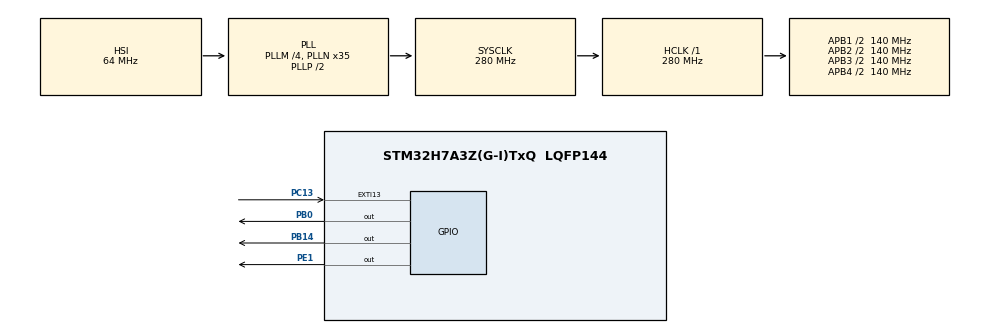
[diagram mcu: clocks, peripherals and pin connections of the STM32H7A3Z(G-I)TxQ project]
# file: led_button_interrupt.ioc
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CORTEX_M7.default_mode_Activation=1
Mcu.Family=STM32H7
Mcu.Name=STM32H7A3Z(G-I)TxQ
Mcu.Package=LQFP144
NVIC.EXTI15_10_IRQn=true\:0\:0\:true\:false\:true\:true\:true\:true
NVIC.PriorityGroup=NVIC_PRIORITYGROUP_4
NVIC.TIM6_DAC_IRQn=true\:1\:0\:true\:false\:true\:true\:true\:true
NVIC.TIM7_IRQn=true\:1\:0\:true\:false\:true\:true\:true\:true
PB0.PinState=GPIO_PIN_RESET
PB0.Signal=GPIO_Output
PB14.PinState=GPIO_PIN_RESET
PB14.Signal=GPIO_Output
PC13.GPIO_ModeDefaultEXTI=GPIO_MODE_IT_RISING_FALLING
PC13.Signal=GPXTI13
PC14-OSC32_IN.GPIO_Label=OSC32_IN
PC14-OSC32_IN.Signal=RCC_OSC32_IN
PC15-OSC32_OUT.GPIO_Label=OSC32_OUT
PC15-OSC32_OUT.Signal=RCC_OSC32_OUT
PE1.PinState=GPIO_PIN_RESET
PE1.Signal=GPIO_Output
PH0-OSC_IN.GPIO_Label=PH0-MCU
PH0-OSC_IN.Signal=RCC_OSC_IN
PH1-OSC_OUT.GPIO_Label=PH1-MCU
PH1-OSC_OUT.Signal=RCC_OSC_OUT
ProjectManager.HeapSize=0x200
ProjectManager.StackSize=0x400
ProjectManager.TargetToolchain=STM32CubeIDE
RCC.ADCFreq_Value=129000000
RCC.APB1Freq_Value=140000000
RCC.APB2Freq_Value=140000000
RCC.APB3Freq_Value=140000000
RCC.APB4Freq_Value=140000000
RCC.CDPPRE=RCC_APB3_DIV2
RCC.CDPPRE1=RCC_APB1_DIV2
RCC.CDPPRE2=RCC_APB2_DIV2
RCC.CortexFreq_Value=280000000
RCC.DIVM1=4
RCC.DIVM3=1
RCC.DIVN1=35
RCC.DIVN3=24
RCC.DIVQ1=4
RCC.HCLKFreq_Value=280000000
RCC.HSE_VALUE=8000000
RCC.PLL2FRACN=0
RCC.PLL3FRACN=0
RCC.PLLFRACN=0
RCC.PWR_Regulator_Voltage_Scale=PWR_REGULATOR_VOLTAGE_SCALE0
RCC.SRDPPRE=RCC_APB4_DIV2
RCC.SYSCLKFreq_VALUE=280000000
RCC.SYSCLKSource=RCC_SYSCLKSOURCE_PLLCLK
RCC.SupplySource=PWR_DIRECT_SMPS_SUPPLY
RCC.USBCLockSelection=RCC_USBCLKSOURCE_HSI48
RCC.USBFreq_Value=48000000
TIM6.Period=30000
TIM6.Prescaler=27999
TIM7.Period=1000
TIM7.Prescaler=55999
VP_MEMORYMAP_VS_MEMORYMAP.Mode=CurAppReg
VP_TIM6_VS_ClockSourceINT.Mode=Enable_Timer
VP_TIM7_VS_ClockSourceINT.Mode=Enable_Timer
board=NUCLEO-H7A3ZI-Q

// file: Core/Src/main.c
/* USER CODE BEGIN Header */
/**
  ******************************************************************************
  * @file           : main.c
  * @brief          : Main program body
  ******************************************************************************
  * @attention
  *
  * Copyright (c) 2025 STMicroelectronics.
  * All rights reserved.
  *
  * This software is licensed under terms that can be found in the LICENSE file
  * in the root directory of this software component.
  * If no LICENSE file comes with this software, it is provided AS-IS.
  *
  ******************************************************************************
  */
/* USER CODE END Header */
#include "main.h"

/* USER CODE BEGIN Includes */
#include "led_control.h"
/* USER CODE END Includes */

TIM_HandleTypeDef htim6;
TIM_HandleTypeDef htim7;

/* USER CODE BEGIN PV */
uint8_t count = 0;
CLICK_STATE click_state;
_BOOL increment = FALSE;

uint32_t press_tick = 0;
uint8_t click_count = 0;
/* USER CODE END PV */

void SystemClock_Config(void);
static void MPU_Config(void);
static void MX_GPIO_Init(void);
static void MX_TIM6_Init(void);
static void MX_TIM7_Init(void);
/* USER CODE BEGIN PFP */
/**
 * @brief  Set the LED output state.
 *
 * This function controls three LEDs based on the given state value.
 * Each state corresponds to a specific LED configuration.
 *
 * @param[in]  state  Desired LED state:
 *                    - 0: LED1 ON, LED2 OFF, LED3 OFF
 *                    - 1: LED2 ON, LED1 OFF, LED3 OFF
 *                    - 2: LED3 ON, LED1 OFF, LED2 OFF
 *                    - 3: All LEDs OFF
 *
 * @note  This function directly calls LEDx_H()/LEDx_L() macros,
 *        which must be defined to control the GPIO pins.
 *
 * @retval None
 */
void set_led_state(uint8_t state);
/**
 * @brief  Handle button actions based on click state.
 *
 * Updates the global variable "count" depending on the button action:
 *  - SINGLE_CLICK → reset LEDs (count = 0)
 *  - DOUBLE_CLICK → cycle through LEDs (count = 0 → 1 → 2 → 0),
 *                   but only if not in HOLD mode
 *  - HOLD         → turn off all LEDs (special value count = 100)
 *
 * The "increment" flag ensures that DOUBLE_CLICK increments only once
 * per valid event.
 */
void detect_button_state(CLICK_STATE click_state);
/* USER CODE END PFP */

int main(void)
{

  /* MPU Configuration--------------------------------------------------------*/
  MPU_Config();

  /* MCU Configuration--------------------------------------------------------*/

  /* Reset of all peripherals, Initializes the Flash interface and the Systick. */
  HAL_Init();

  /* Configure the system clock */
  SystemClock_Config();

  /* Initialize all configured peripherals */
  MX_GPIO_Init();
  MX_TIM6_Init();
  MX_TIM7_Init();

  /* Infinite loop */
  /* USER CODE BEGIN WHILE */
  while (1)
  {
	  // Process the button input and update "count" based on click state
	  detect_button_state(click_state);

	  // Set the LED behavior according to the current value of "count"
	  set_led_state(count);
    /* USER CODE END WHILE */

  }
}

void SystemClock_Config(void)
{
  RCC_OscInitTypeDef RCC_OscInitStruct = {0};
  RCC_ClkInitTypeDef RCC_ClkInitStruct = {0};

  /*AXI clock gating */
  RCC->CKGAENR = 0xE003FFFF;

  /** Supply configuration update enable
  */
  HAL_PWREx_ConfigSupply(PWR_DIRECT_SMPS_SUPPLY);

  /** Configure the main internal regulator output voltage
  */
  __HAL_PWR_VOLTAGESCALING_CONFIG(PWR_REGULATOR_VOLTAGE_SCALE0);

  while(!__HAL_PWR_GET_FLAG(PWR_FLAG_VOSRDY)) {}

  /** Initializes the RCC Oscillators according to the specified parameters
  * in the RCC_OscInitTypeDef structure.
  */
  RCC_OscInitStruct.OscillatorType = RCC_OSCILLATORTYPE_HSI;
  RCC_OscInitStruct.HSIState = RCC_HSI_DIV1;
  RCC_OscInitStruct.HSICalibrationValue = 64;
  RCC_OscInitStruct.PLL.PLLState = RCC_PLL_ON;
  RCC_OscInitStruct.PLL.PLLSource = RCC_PLLSOURCE_HSI;
  RCC_OscInitStruct.PLL.PLLM = 4;
  RCC_OscInitStruct.PLL.PLLN = 35;
  RCC_OscInitStruct.PLL.PLLP = 2;
  RCC_OscInitStruct.PLL.PLLQ = 4;
  RCC_OscInitStruct.PLL.PLLR = 2;
  RCC_OscInitStruct.PLL.PLLRGE = RCC_PLL1VCIRANGE_3;
  RCC_OscInitStruct.PLL.PLLVCOSEL = RCC_PLL1VCOWIDE;
  RCC_OscInitStruct.PLL.PLLFRACN = 0;
  if (HAL_RCC_OscConfig(&RCC_OscInitStruct) != HAL_OK)
  {
    Error_Handler();
  }

  /** Initializes the CPU, AHB and APB buses clocks
  */
  RCC_ClkInitStruct.ClockType = RCC_CLOCKTYPE_HCLK|RCC_CLOCKTYPE_SYSCLK
                              |RCC_CLOCKTYPE_PCLK1|RCC_CLOCKTYPE_PCLK2
                              |RCC_CLOCKTYPE_D3PCLK1|RCC_CLOCKTYPE_D1PCLK1;
  RCC_ClkInitStruct.SYSCLKSource = RCC_SYSCLKSOURCE_PLLCLK;
  RCC_ClkInitStruct.SYSCLKDivider = RCC_SYSCLK_DIV1;
  RCC_ClkInitStruct.AHBCLKDivider = RCC_HCLK_DIV1;
  RCC_ClkInitStruct.APB3CLKDivider = RCC_APB3_DIV2;
  RCC_ClkInitStruct.APB1CLKDivider = RCC_APB1_DIV2;
  RCC_ClkInitStruct.APB2CLKDivider = RCC_APB2_DIV2;
  RCC_ClkInitStruct.APB4CLKDivider = RCC_APB4_DIV2;

  if (HAL_RCC_ClockConfig(&RCC_ClkInitStruct, FLASH_LATENCY_6) != HAL_OK)
  {
    Error_Handler();
  }
}

static void MX_TIM6_Init(void)
{

  TIM_MasterConfigTypeDef sMasterConfig = {0};

  htim6.Instance = TIM6;
  htim6.Init.Prescaler = 27999;
  htim6.Init.CounterMode = TIM_COUNTERMODE_UP;
  htim6.Init.Period = 30000;
  htim6.Init.AutoReloadPreload = TIM_AUTORELOAD_PRELOAD_DISABLE;
  if (HAL_TIM_Base_Init(&htim6) != HAL_OK)
  {
    Error_Handler();
  }
  sMasterConfig.MasterOutputTrigger = TIM_TRGO_RESET;
  sMasterConfig.MasterSlaveMode = TIM_MASTERSLAVEMODE_DISABLE;
  if (HAL_TIMEx_MasterConfigSynchronization(&htim6, &sMasterConfig) != HAL_OK)
  {
    Error_Handler();
  }

}

static void MX_TIM7_Init(void)
{

  TIM_MasterConfigTypeDef sMasterConfig = {0};

  htim7.Instance = TIM7;
  htim7.Init.Prescaler = 55999;
  htim7.Init.CounterMode = TIM_COUNTERMODE_UP;
  htim7.Init.Period = 1000;
  htim7.Init.AutoReloadPreload = TIM_AUTORELOAD_PRELOAD_DISABLE;
  if (HAL_TIM_Base_Init(&htim7) != HAL_OK)
  {
    Error_Handler();
  }
  sMasterConfig.MasterOutputTrigger = TIM_TRGO_RESET;
  sMasterConfig.MasterSlaveMode = TIM_MASTERSLAVEMODE_DISABLE;
  if (HAL_TIMEx_MasterConfigSynchronization(&htim7, &sMasterConfig) != HAL_OK)
  {
    Error_Handler();
  }

}

static void MX_GPIO_Init(void)
{
  GPIO_InitTypeDef GPIO_InitStruct = {0};

  /* GPIO Ports Clock Enable */
  __HAL_RCC_GPIOC_CLK_ENABLE();
  __HAL_RCC_GPIOH_CLK_ENABLE();
  __HAL_RCC_GPIOB_CLK_ENABLE();
  __HAL_RCC_GPIOE_CLK_ENABLE();

  /*Configure GPIO pin Output Level */
  HAL_GPIO_WritePin(GPIOB, GPIO_PIN_0|GPIO_PIN_14, GPIO_PIN_RESET);

  /*Configure GPIO pin Output Level */
  HAL_GPIO_WritePin(GPIOE, GPIO_PIN_1, GPIO_PIN_RESET);

  /*Configure GPIO pin : PC13 */
  GPIO_InitStruct.Pin = GPIO_PIN_13;
  GPIO_InitStruct.Mode = GPIO_MODE_IT_RISING_FALLING;
  GPIO_InitStruct.Pull = GPIO_NOPULL;
  HAL_GPIO_Init(GPIOC, &GPIO_InitStruct);

  /*Configure GPIO pins : PB0 PB14 */
  GPIO_InitStruct.Pin = GPIO_PIN_0|GPIO_PIN_14;
  GPIO_InitStruct.Mode = GPIO_MODE_OUTPUT_PP;
  GPIO_InitStruct.Pull = GPIO_NOPULL;
  GPIO_InitStruct.Speed = GPIO_SPEED_FREQ_LOW;
  HAL_GPIO_Init(GPIOB, &GPIO_InitStruct);

  /*Configure GPIO pin : PE1 */
  GPIO_InitStruct.Pin = GPIO_PIN_1;
  GPIO_InitStruct.Mode = GPIO_MODE_OUTPUT_PP;
  GPIO_InitStruct.Pull = GPIO_NOPULL;
  GPIO_InitStruct.Speed = GPIO_SPEED_FREQ_LOW;
  HAL_GPIO_Init(GPIOE, &GPIO_InitStruct);

  /* EXTI interrupt init*/
  HAL_NVIC_SetPriority(EXTI15_10_IRQn, 0, 0);
  HAL_NVIC_EnableIRQ(EXTI15_10_IRQn);

}

/* USER CODE BEGIN 4 */
void set_led_state(uint8_t state)
{
    switch(state)
    {
        case 0: // LED1 on
        	turn_on_led1();
        	turn_off_led2();
        	turn_off_led3();
            break;
        case 1: // LED2 on
            turn_off_led1();
            turn_on_led2();
            turn_off_led3();
            break;
        case 2: // LED3 on
        	turn_off_led1();
        	turn_off_led2();
        	turn_on_led3();
            break;
        default: // All LED off
        	turn_off_led1();
        	turn_off_led2();
        	turn_off_led3();
        	break;
    }
}
void detect_button_state(CLICK_STATE click_state)
{
    switch(click_state)
    {
        case SINGLE_CLICK:
        	// Reset to base state (count = 0)
        	// ONLY if the previous state was HOLD (100).
        	// This prevents accidental reset when already cycling LEDs.
        	if (count == 100)
        		count = 0;
            break;
        case DOUBLE_CLICK:
            // On double click: increase count cyclically (0 → 1 → 2 → 0)
            // Only increment once per event when "increment" flag is TRUE
            if (increment)
            {
                // If all LEDs are OFF because of HOLD, ignore this event
                // (must be followed by SINGLE_CLICK or ignored completely)
                if (count == 100)
                    break;
                else
                    count = (count + 1) % 3;

                increment = FALSE; // Reset flag to avoid repeated increments
            }
            break;
        case HOLD:
            // If button is held: assign a special value (100 → all LEDs OFF)
            count = 100;
            break;
        default:
            // Do nothing for undefined states
            break;
    }
}
/**
 * @brief  External interrupt callback for button press (B1).
 *
 * This function is triggered whenever the button pin (B1_BUTTON_PIN)
 * changes state (pressed or released).
 *
 * Logic:
 *  - On button press (rising edge): count the clicks and start Timer6
 *    if it's the first click.
 *  - On button release (falling edge): check how long the button was held
 *    using Timer6 counter. If it was a short press (< 2000 ticks) and
 *    at least one click was detected, start Timer7 to evaluate
 *    single/double click.
 */
void HAL_GPIO_EXTI_Callback(uint16_t GPIO_Pin)
{
    if (GPIO_Pin == B1_BUTTON_PIN)   // Check if interrupt comes from button B1
    {
        // ----- Button Pressed (Pin is HIGH) -----
        if (HAL_GPIO_ReadPin(B1_BUTTON_GPIO_PORT, B1_BUTTON_PIN) == GPIO_PIN_SET)
        {
        	// Stop Timer7 to detect next action
        	__HAL_TIM_SET_COUNTER(&htim7, 0);
        	HAL_TIM_Base_Stop_IT(&htim7);
            // Start Timer6 on the first click (used to measure press duration)
            HAL_TIM_Base_Start_IT(&htim6);
        }
        // ----- Button Released (Pin is LOW) -----
        else
        {
            // Read how long the button was pressed using Timer6 counter
            press_tick = __HAL_TIM_GET_COUNTER(&htim6);

            // If the button was pressed for a valid duration (between 50ms and 2000ms)
            // and at least one click has been registered,
            // then start Timer7 to determine whether this is a single click or a double click
            if ((press_tick >= 500) && (press_tick <= 3000))
            {
            	click_count++;   // Increase number of clicks detected
                HAL_TIM_Base_Start_IT(&htim7);
            }
            // Reset Timer6 for the next measurement
            __HAL_TIM_SET_COUNTER(&htim6, 0);
            HAL_TIM_Base_Stop_IT(&htim6);
        }
    }
}
/**
 * @brief  Timer interrupt callback.
 *
 * This function is called when a timer configured in interrupt mode expires.
 * It is used together with EXTI (button interrupt) to detect:
 *  - HOLD (long press, via TIM6)
 *  - SINGLE or DOUBLE CLICK (via TIM7)
 *
 * @param  htim: pointer to the timer handle that triggered the interrupt
 */
void HAL_TIM_PeriodElapsedCallback(TIM_HandleTypeDef *htim)
{
    // ----- Timer6: Long press (HOLD detection) -----
    if (htim->Instance == TIM6)
    {
        click_count = 0;       // Reset click counter
        click_state = HOLD;    // Button is considered "HOLD"
    }
    // ----- Timer7: Single / Double click detection -----
    if (htim->Instance == TIM7)
    {
    	// If more 2 clicks happens -> MULTI CLICK
        if (click_count > 2)
        {
        	click_state = MULTI_CLICK;
        }
        // If two clicks happened before timeout → DOUBLE CLICK
        else if (click_count == 2)
        {
            click_state = DOUBLE_CLICK;
            increment = TRUE;   // Allow increment in detect_button_state()
        }
        // Otherwise → SINGLE CLICK
        else
        {
            click_state = SINGLE_CLICK;
        }

        click_count = 0;                  // Reset click counter
        HAL_TIM_Base_Stop_IT(&htim7);     // Stop Timer7 after classification
    }
}
/* USER CODE END 4 */

 /* MPU Configuration */

void MPU_Config(void)
{
  MPU_Region_InitTypeDef MPU_InitStruct = {0};

  /* Disables the MPU */
  HAL_MPU_Disable();

  /** Initializes and configures the Region and the memory to be protected
  */
  MPU_InitStruct.Enable = MPU_REGION_ENABLE;
  MPU_InitStruct.Number = MPU_REGION_NUMBER0;
  MPU_InitStruct.BaseAddress = 0x0;
  MPU_InitStruct.Size = MPU_REGION_SIZE_4GB;
  MPU_InitStruct.SubRegionDisable = 0x87;
  MPU_InitStruct.TypeExtField = MPU_TEX_LEVEL0;
  MPU_InitStruct.AccessPermission = MPU_REGION_NO_ACCESS;
  MPU_InitStruct.DisableExec = MPU_INSTRUCTION_ACCESS_DISABLE;
  MPU_InitStruct.IsShareable = MPU_ACCESS_SHAREABLE;
  MPU_InitStruct.IsCacheable = MPU_ACCESS_NOT_CACHEABLE;
  MPU_InitStruct.IsBufferable = MPU_ACCESS_NOT_BUFFERABLE;

  HAL_MPU_ConfigRegion(&MPU_InitStruct);
  /* Enables the MPU */
  HAL_MPU_Enable(MPU_PRIVILEGED_DEFAULT);

}

void Error_Handler(void)
{
  __disable_irq();
  while (1)
  {
  }
}
